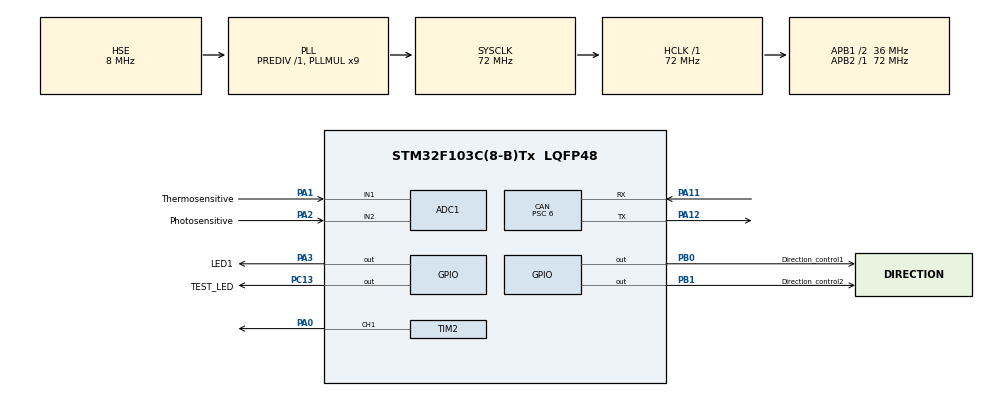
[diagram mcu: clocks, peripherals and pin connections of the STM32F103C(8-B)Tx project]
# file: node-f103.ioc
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ADC1.Channel-0\#ChannelRegularConversion=ADC_CHANNEL_1
ADC1.Channel-1\#ChannelRegularConversion=ADC_CHANNEL_2
ADC1.ContinuousConvMode=ENABLE
ADC1.EnableInjectedConversion=DISABLE
ADC1.NbrOfConversion=2
ADC1.NbrOfConversionFlag=1
ADC1.Rank-0\#ChannelRegularConversion=1
ADC1.Rank-1\#ChannelRegularConversion=2
ADC1.SamplingTime-0\#ChannelRegularConversion=ADC_SAMPLETIME_239CYCLES_5
ADC1.SamplingTime-1\#ChannelRegularConversion=ADC_SAMPLETIME_239CYCLES_5
ADC1.master=1
CAN.ABOM=ENABLE
CAN.BS1=CAN_BS1_6TQ
CAN.BS2=CAN_BS2_5TQ
CAN.CalculateBaudRate=499999
CAN.CalculateTimeBit=2000
CAN.CalculateTimeQuantum=166.66666666666669
CAN.Prescaler=6
CAN.SJW=CAN_SJW_2TQ
Dma.ADC1.0.Direction=DMA_PERIPH_TO_MEMORY
Dma.ADC1.0.Instance=DMA1_Channel1
Dma.ADC1.0.MemDataAlignment=DMA_MDATAALIGN_HALFWORD
Dma.ADC1.0.MemInc=DMA_MINC_ENABLE
Dma.ADC1.0.Mode=DMA_CIRCULAR
Dma.ADC1.0.PeriphDataAlignment=DMA_PDATAALIGN_HALFWORD
Dma.ADC1.0.PeriphInc=DMA_PINC_DISABLE
Dma.ADC1.0.Priority=DMA_PRIORITY_MEDIUM
Dma.Request0=ADC1
Mcu.Family=STM32F1
Mcu.Name=STM32F103C(8-B)Tx
Mcu.Package=LQFP48
NVIC.CAN1_RX1_IRQn=true\:9\:0\:true\:false\:true\:true\:true\:true
NVIC.DMA1_Channel1_IRQn=true\:0\:0\:false\:false\:true\:false\:true\:true
NVIC.PriorityGroup=NVIC_PRIORITYGROUP_4
NVIC.USB_HP_CAN1_TX_IRQn=true\:9\:0\:true\:false\:true\:true\:true\:true
NVIC.USB_LP_CAN1_RX0_IRQn=true\:9\:0\:true\:false\:true\:true\:true\:true
PA0-WKUP.Signal=S_TIM2_CH1_ETR
PA1.GPIO_Label=Thermosensitive
PA1.Signal=SharedAnalog_PA1
PA11.Mode=CAN_Activate
PA11.Signal=CAN_RX
PA12.Mode=CAN_Activate
PA12.Signal=CAN_TX
PA13.Mode=Serial_Wire
PA13.Signal=SYS_JTMS-SWDIO
PA14.Mode=Serial_Wire
PA14.Signal=SYS_JTCK-SWCLK
PA2.GPIO_Label=Photosensitive
PA2.Signal=SharedAnalog_PA2
PA3.GPIO_Label=LED1
PA3.PinState=GPIO_PIN_SET
PA3.Signal=GPIO_Output
PB0.GPIO_Label=Direction_control1
PB0.PinState=GPIO_PIN_SET
PB0.Signal=GPIO_Output
PB1.GPIO_Label=Direction_control2
PB1.Signal=GPIO_Output
PC13-TAMPER-RTC.GPIO_Label=TEST_LED
PC13-TAMPER-RTC.PinState=GPIO_PIN_SET
PC13-TAMPER-RTC.Signal=GPIO_Output
PD0-OSC_IN.Mode=HSE-External-Oscillator
PD0-OSC_IN.Signal=RCC_OSC_IN
PD1-OSC_OUT.Mode=HSE-External-Oscillator
PD1-OSC_OUT.Signal=RCC_OSC_OUT
ProjectManager.HeapSize=0x200
ProjectManager.StackSize=0x400
ProjectManager.TargetToolchain=CMake
RCC.ADCPresc=RCC_ADCPCLK2_DIV6
RCC.AHBFreq_Value=72000000
RCC.APB1CLKDivider=RCC_HCLK_DIV2
RCC.APB1Freq_Value=36000000
RCC.APB1TimFreq_Value=72000000
RCC.APB2Freq_Value=72000000
RCC.APB2TimFreq_Value=72000000
RCC.HCLKFreq_Value=72000000
RCC.PLLMUL=RCC_PLL_MUL9
RCC.PLLSourceVirtual=RCC_PLLSOURCE_HSE
RCC.SYSCLKFreq_VALUE=72000000
RCC.SYSCLKSource=RCC_SYSCLKSOURCE_PLLCLK
RCC.USBFreq_Value=72000000
SH.S_TIM2_CH1_ETR.0=TIM2_CH1,PWM Generation1 CH1
SH.SharedAnalog_PA1.0=GPIO_Analog
SH.SharedAnalog_PA1.1=ADC1_IN1,IN1
SH.SharedAnalog_PA2.0=GPIO_Analog
SH.SharedAnalog_PA2.1=ADC1_IN2,IN2
TIM2.Channel-PWM\ Generation1\ CH1=TIM_CHANNEL_1
TIM2.Period=1000 - 1
TIM2.Prescaler=72 - 1
TIM2.Pulse-PWM\ Generation1\ CH1=500
VP_TIM2_VS_ClockSourceINT.Mode=Internal
board=custom

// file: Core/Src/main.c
/* USER CODE BEGIN Header */
/**
  ******************************************************************************
  * @file           : main.c
  * @brief          : Main program body
  ******************************************************************************
  * @attention
  *
  * Copyright (c) 2026 STMicroelectronics.
  * All rights reserved.
  *
  * This software is licensed under terms that can be found in the LICENSE file
  * in the root directory of this software component.
  * If no LICENSE file comes with this software, it is provided AS-IS.
  *
  ******************************************************************************
  */
/* USER CODE END Header */
#include "main.h"
#include "adc.h"
#include "can.h"
#include "dma.h"
#include "tim.h"
#include "gpio.h"

/* USER CODE BEGIN Includes */
#include "can_port.h"
/* USER CODE END Includes */

/* USER CODE BEGIN PV */

volatile uint16_t g_adc_raw[2];   /* [0]=PA1/IN1, [1]=PA2/IN2，DMA 自动更新 */

/* USER CODE END PV */

void SystemClock_Config(void);

int main(void)
{

  /* MCU Configuration--------------------------------------------------------*/

  /* Reset of all peripherals, Initializes the Flash interface and the Systick. */
  HAL_Init();

  /* Configure the system clock */
  SystemClock_Config();

  /* Initialize all configured peripherals */
  MX_GPIO_Init();
  MX_DMA_Init();
  MX_CAN_Init();
  MX_TIM2_Init();
  MX_ADC1_Init();
  /* USER CODE BEGIN 2 */
  /* PA0 (TIM2_CH1): start PWM output, 1 kHz / 50% duty as configured in MX_TIM2_Init */
  if (HAL_TIM_PWM_Start(&htim2, TIM_CHANNEL_1) != HAL_OK)
  {
    Error_Handler();
  }

  /* ADC1 calibration is required once after power-on before the first conversion */
  if (HAL_ADCEx_Calibration_Start(&hadc1) != HAL_OK)
  {
    Error_Handler();
  }
  if (HAL_ADC_Start_DMA(&hadc1, (uint32_t *)g_adc_raw, 2) != HAL_OK)
  {
    Error_Handler();
  }

  if (Can_Port_Init() != CAN_PORT_OK) {
    Error_Handler();
  }
  /* USER CODE END 2 */

  /* Infinite loop */
  /* USER CODE BEGIN WHILE */
  while (1)
  {
    // uint32_t mv_pa1 = (g_adc_raw[0] * 3300U + 2047U) / 4095U;
    // uint32_t mv_pa2 = (g_adc_raw[1] * 3300U + 2047U) / 4095U;

    /* 测试f407端接收 0x101状态 0x201心跳 0x401应答 */
    // can_frame_t test_frame1 = {0};
    // test_frame1.id = 0x101;
    // test_frame1.dlc = 8;
    // test_frame1.flags = 0;
    // for (uint8_t i = 0; i < 8; i++) {
    //   test_frame1.data[i] = 1;
    // }
    // Can_Port_send(&test_frame1);

    // can_frame_t test_frame2 = {0};
    // test_frame2.id = 0x201;
    // test_frame2.dlc = 2;
    // test_frame2.flags = 0;
    // for (uint8_t i = 0; i < 2; i++) {
    //   test_frame2.data[i] = 2;
    // }
    // Can_Port_send(&test_frame2);

    can_frame_t test_frame3 = {0};
    test_frame3.id = 0x401;
    test_frame3.dlc = 3;
    test_frame3.flags = 0;
    for (uint8_t i = 0; i < 3; i++) {
      test_frame3.data[i] = 4;
    }
    Can_Port_send(&test_frame3);

    HAL_Delay(1000);
    /* USER CODE END WHILE */

  }
}

void SystemClock_Config(void)
{
  RCC_OscInitTypeDef RCC_OscInitStruct = {0};
  RCC_ClkInitTypeDef RCC_ClkInitStruct = {0};
  RCC_PeriphCLKInitTypeDef PeriphClkInit = {0};

  /** Initializes the RCC Oscillators according to the specified parameters
  * in the RCC_OscInitTypeDef structure.
  */
  RCC_OscInitStruct.OscillatorType = RCC_OSCILLATORTYPE_HSE;
  RCC_OscInitStruct.HSEState = RCC_HSE_ON;
  RCC_OscInitStruct.HSEPredivValue = RCC_HSE_PREDIV_DIV1;
  RCC_OscInitStruct.HSIState = RCC_HSI_ON;
  RCC_OscInitStruct.PLL.PLLState = RCC_PLL_ON;
  RCC_OscInitStruct.PLL.PLLSource = RCC_PLLSOURCE_HSE;
  RCC_OscInitStruct.PLL.PLLMUL = RCC_PLL_MUL9;
  if (HAL_RCC_OscConfig(&RCC_OscInitStruct) != HAL_OK)
  {
    Error_Handler();
  }

  /** Initializes the CPU, AHB and APB buses clocks
  */
  RCC_ClkInitStruct.ClockType = RCC_CLOCKTYPE_HCLK|RCC_CLOCKTYPE_SYSCLK
                              |RCC_CLOCKTYPE_PCLK1|RCC_CLOCKTYPE_PCLK2;
  RCC_ClkInitStruct.SYSCLKSource = RCC_SYSCLKSOURCE_PLLCLK;
  RCC_ClkInitStruct.AHBCLKDivider = RCC_SYSCLK_DIV1;
  RCC_ClkInitStruct.APB1CLKDivider = RCC_HCLK_DIV2;
  RCC_ClkInitStruct.APB2CLKDivider = RCC_HCLK_DIV1;

  if (HAL_RCC_ClockConfig(&RCC_ClkInitStruct, FLASH_LATENCY_2) != HAL_OK)
  {
    Error_Handler();
  }
  PeriphClkInit.PeriphClockSelection = RCC_PERIPHCLK_ADC;
  PeriphClkInit.AdcClockSelection = RCC_ADCPCLK2_DIV6;
  if (HAL_RCCEx_PeriphCLKConfig(&PeriphClkInit) != HAL_OK)
  {
    Error_Handler();
  }
}

void Error_Handler(void)
{
  __disable_irq();
  while (1)
  {
  }
}
